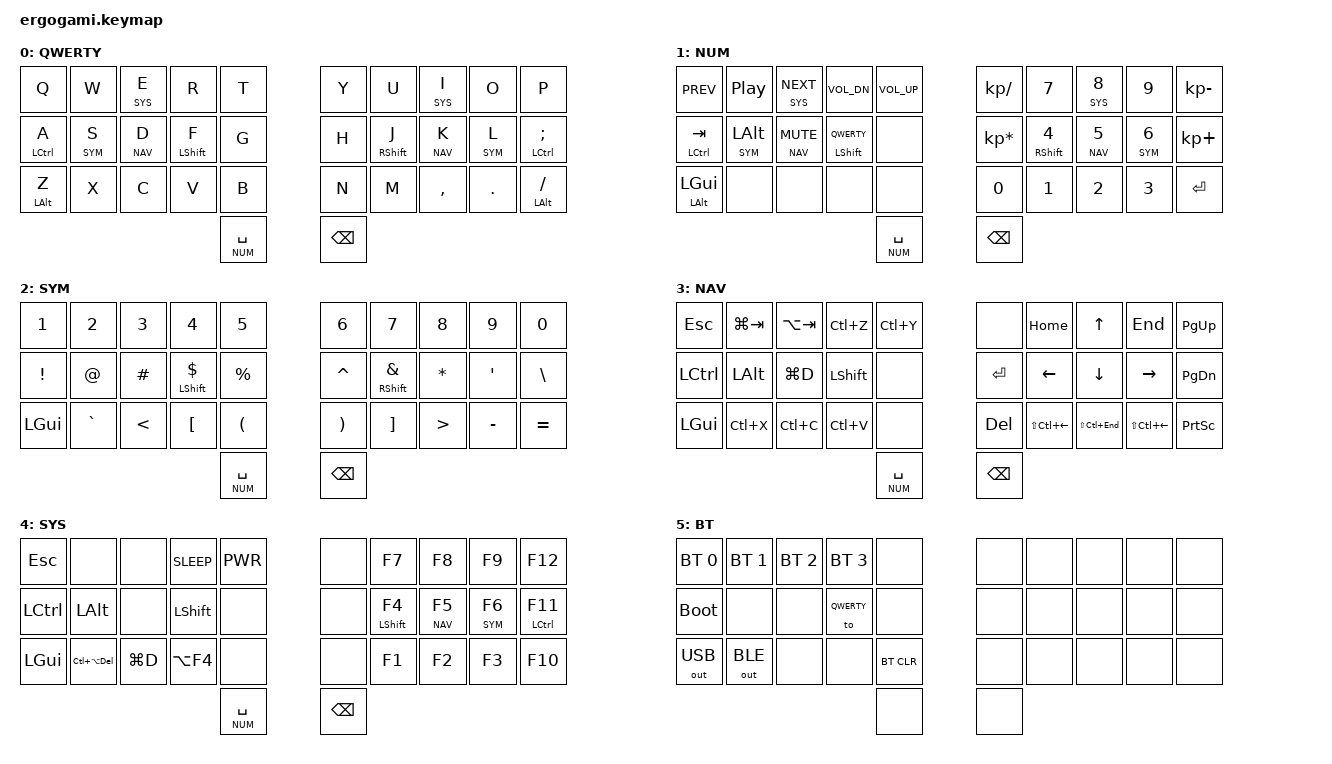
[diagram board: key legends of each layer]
/*
 * Copyright (c) 2020 The ZMK Contributors
 *
 * SPDX-License-Identifier: MIT
 */

#include <behaviors.dtsi>
#include <dt-bindings/zmk/keys.h>
#include <dt-bindings/zmk/bt.h>
#include <dt-bindings/zmk/outputs.h>

&mt {
  tapping-term-ms = <400>;
};
&sk {
  release-after-ms = <2000>;
  quick-release;
};
 
/* Layers */
#define QWERTY 0
#define NUM 1
#define SYM 2
#define NAV 3
#define SYS 4
#define BT 5
/ {

  combos {
    compatible = "zmk,combos";
    combo_qwerty {
      timeout-ms = <40>;
      key-positions = <0 1>;
      bindings = <&to QWERTY>;
    };
    combo_num {
      timeout-ms = <30>;
      key-positions = <1 2 3>;
      bindings = <&to NUM>;
    };
    combo_sym {
      timeout-ms = <30>;
      key-positions = <11 12 13>;
      bindings = <&to SYM>;
    };
    combo_nav {
      timeout-ms = <30>;
      key-positions = <21 22 23>;
      bindings = <&to NAV>;
    };
    combo_bt  {
      timeout-ms = <40>;
      key-positions = <20 21 22 23>;
      bindings = <&to BT>;
    };
    combo_caps {
      timeout-ms = <45>;
      key-positions = <16 17 18>;
      bindings = <&kp CAPS>;
    };
    combo_enter {
      timeout-ms = <30>;
      key-positions = <16 17>;
      bindings = <&kp RET>; 
    };
  };

  behaviors {
    lm: layer_mods {
      compatible = "zmk,behavior-hold-tap";
      label = "LAYER_MODS";
      #binding-cells = <2>;
      tapping-term-ms = <200>;
      flavor = "balanced";
      bindings = <&lt>, <&to>;
      retro-tap;
    };
    hl: homerow_layers {
      compatible = "zmk,behavior-hold-tap";
      label = "HOMEROW_LAYERS";
      #binding-cells = <2>;
      tapping-term-ms = <200>;
      quick_tap_ms = <0>;
      flavor = "hold-preferred";
      bindings = <&kp>, <&to>;
    };
    hs: hold_shift {
      compatible = "zmk,behavior-hold-tap";
      label = "SHIFT_KEY";
      #binding-cells = <2>;
      tapping-term-ms = <160>;
      quick_tap_ms = <0>;
      flavor = "hold-preferred";
      bindings = <&kp>, <&kp>;
      retro-tap;
    };
    td: tapdance {
      compatible = "zmk,behavior-hold-tap";
      label = "TAPDANCE";
      #binding-cells = <2>;
      tapping-term-ms = <190>;
      quick_tap_ms = <0>;
      flavor = "tap-preferred";
      bindings = <&kp>, <&kp>;
      retro-tap;
    };
  };
  
//		Keys Template
//              -------------------------------------------------------------------------------------------------------------------------
//             |  RC(0,0)   |  RC(0,1)   |  RC(0,2)   |  RC(0,3)   |  RC(0,4)   |         |  RC(0,5)   |  RC(0,6)   |  RC(0,7)   |  RC(0,8)   |  RC(0,9)   |
//             |  RC(0,10)  |  RC(0,11)  |  RC(0,12)  |  RC(0,13)  |  RC(0,14)  |         |  RC(0,15)  |  RC(0,16)  |  RC(0,17)  |  RC(0,18)  |  RC(0,19)  |
//             |  RC(0,20)  |  RC(0,21)  |  RC(0,22)  |  RC(0,23)  |  RC(0,24)  |         |  RC(0,25)  |  RC(0,26)  |  RC(0,27)  |  RC(0,28)  |  RC(0,29)  |
//                                                                 |  RC(0,30)  |         |  RC(0,31)  |

  keymap {
    compatible = "zmk,keymap";
    qwerty {
      label = "QWERTY";
      bindings = <
   // ╭─────────────┬─────────────┬─────────────┬─────────────┬───────────────╮   ╭─────────────┬─────────────┬─────────────┬─────────────┬────────────────╮
        &kp Q         &kp W         &lt SYS E     &kp R         &kp T               &kp Y         &kp U         &lt SYS I     &kp O         &kp P
   // ├─────────────┼─────────────┼─────────────┼─────────────┼───────────────┤   ├─────────────┼─────────────┼─────────────┼─────────────┼────────────────┤
        &td LCTRL A   &lt SYM S     &lt NAV D     &hs LSHFT F   &kp G               &kp H         &hs RSHFT J   &lt NAV K     &lt SYM L     &td LCTRL SEMI
   // ├─────────────┼─────────────┼─────────────┼─────────────┼───────────────┤   ├─────────────┼─────────────┼─────────────┼─────────────┼────────────────┤
        &td LALT Z    &kp X         &kp C         &kp V         &kp B               &kp N         &kp M         &kp COMMA     &kp DOT       &td LALT SLASH
   // ╰─────────────┴─────────────┴─────────────┴─────────────┼───────────────┤   ├─────────────┼─────────────┴─────────────┴─────────────┴────────────────╯
                                                                &lt NUM SPACE       &kp BSPC
   //                                                         ╰───────────────╯   ╰─────────────╯
      >;
    };

    num {
      label = "NUM";
      bindings = <
   // ╭───────────────┬──────────────┬────────────────┬──────────────────┬───────────────╮   ╭─────────────────┬──────────────┬─────────────┬─────────────┬──────────────╮
        &kp C_PREV      &kp C_PP       &lt SYS C_NEXT   &kp C_VOL_DN       &kp C_VOL_UP        &kp KP_DIVIDE     &kp N7         &lt SYS N8    &kp N9        &kp KP_MINUS
   // ├───────────────┼──────────────┼────────────────┼──────────────────┼───────────────┤   ├─────────────────┼──────────────┼─────────────┼─────────────┼──────────────┤
        &td LCTRL TAB   &lt SYM LALT   &lt NAV C_MUTE   &hl LSHFT QWERTY   &none               &kp KP_MULTIPLY   &hs RSHFT N4   &lt NAV N5    &lt SYM N6    &kp KP_PLUS
   // ├───────────────┼──────────────┼────────────────┼──────────────────┼───────────────┤   ├─────────────────┼──────────────┼─────────────┼─────────────┼──────────────┤
        &td LALT LGUI   &none          &none            &none              &none               &kp N0            &kp N1         &kp N2        &kp N3        &kp RET
   // ╰───────────────┴──────────────┴────────────────┴──────────────────┼───────────────┤   ├─────────────────┼──────────────┴─────────────┴─────────────┴──────────────╯
                                                                           &lt NUM SPACE       &kp BSPC
   //                                                                    ╰───────────────╯   ╰─────────────────╯
      >;
    };

    sym {
      label = "SYM";
      bindings = <
   // ╭─────────────┬─────────────┬─────────────┬────────────────┬───────────────╮   ╭─────────────┬────────────────┬─────────────┬─────────────┬─────────────╮
        &kp N1        &kp N2        &kp N3        &kp N4           &kp N5              &kp N6        &kp N7           &kp N8        &kp N9        &kp N0
   // ├─────────────┼─────────────┼─────────────┼────────────────┼───────────────┤   ├─────────────┼────────────────┼─────────────┼─────────────┼─────────────┤
        &kp EXCL      &kp AT        &kp HASH      &hs LSHFT DLLR   &kp PRCNT           &kp CARET     &hs RSHFT AMPS   &kp STAR      &kp SQT       &kp BSLH
   // ├─────────────┼─────────────┼─────────────┼────────────────┼───────────────┤   ├─────────────┼────────────────┼─────────────┼─────────────┼─────────────┤
        &kp LGUI      &kp GRAVE     &kp LT        &kp LBKT         &kp LPAR            &kp RPAR      &kp RBKT         &kp GT        &kp MINUS     &kp EQUAL
   // ╰─────────────┴─────────────┴─────────────┴────────────────┼───────────────┤   ├─────────────┼────────────────┴─────────────┴─────────────┴─────────────╯
                                                                   &lt NUM SPACE       &kp BSPC
   //                                                            ╰───────────────╯   ╰─────────────╯
      >;
    };
		
    nav {
      label = "NAV";
      bindings = <
   // ╭─────────────┬─────────────┬─────────────┬─────────────┬───────────────╮   ╭─────────────┬──────────────────┬─────────────────┬──────────────────┬─────────────╮
        &kp ESC       &kp LG(TAB)   &kp LA(TAB)   &kp LC(Z)     &kp LC(Y)           &none         &kp HOME           &kp UP            &kp END            &kp PG_UP
   // ├─────────────┼─────────────┼─────────────┼─────────────┼───────────────┤   ├─────────────┼──────────────────┼─────────────────┼──────────────────┼─────────────┤
        &kp LCTRL     &kp LALT      &kp LG(D)     &kp LSHFT     &none               &kp RET       &kp LEFT           &kp DOWN          &kp RIGHT          &kp PG_DN
   // ├─────────────┼─────────────┼─────────────┼─────────────┼───────────────┤   ├─────────────┼──────────────────┼─────────────────┼──────────────────┼─────────────┤
        &kp LGUI      &kp LC(X)     &kp LC(C)     &kp LC(V)     &none               &kp DEL       &kp LS(LC(LEFT))   &kp LS(LC(END))   &kp LS(LC(LEFT))   &kp PSCRN
   // ╰─────────────┴─────────────┴─────────────┴─────────────┼───────────────┤   ├─────────────┼──────────────────┴─────────────────┴──────────────────┴─────────────╯
                                                                &lt NUM SPACE       &kp BSPC
   //                                                         ╰───────────────╯   ╰─────────────╯
      >;
    };

    sys {
      label = "SYS";
      bindings = <
   // ╭─────────────┬─────────────────┬─────────────┬─────────────┬───────────────╮   ╭─────────────┬──────────────┬─────────────┬─────────────┬──────────────╮
        &kp ESC       &none             &none         &kp C_SLEEP   &kp C_PWR           &none         &kp F7         &kp F8        &kp F9        &kp F12
   // ├─────────────┼─────────────────┼─────────────┼─────────────┼───────────────┤   ├─────────────┼──────────────┼─────────────┼─────────────┼──────────────┤
        &kp LCTRL     &kp LALT          &none         &kp LSHFT     &none               &none         &hs LSHFT F4   &lt NAV F5    &lt SYM F6    &hs LCTRL F11
   // ├─────────────┼─────────────────┼─────────────┼─────────────┼───────────────┤   ├─────────────┼──────────────┼─────────────┼─────────────┼──────────────┤
        &kp LGUI      &kp LC(LA(DEL))   &kp LG(D)     &kp LA(F4)    &none               &none         &kp F1         &kp F2        &kp F3        &kp F10
   // ╰─────────────┴─────────────────┴─────────────┴─────────────┼───────────────┤   ├─────────────┼──────────────┴─────────────┴─────────────┴──────────────╯
                                                                    &lt NUM SPACE       &kp BSPC
   //                                                             ╰───────────────╯   ╰─────────────╯
      >;
    };

    bt {
      label = "BT";
      bindings = <
   // ╭──────────────┬──────────────┬──────────────┬──────────────┬─────────────╮   ╭─────────────┬─────────────┬─────────────┬─────────────┬─────────────╮
        &bt BT_SEL 0   &bt BT_SEL 1   &bt BT_SEL 2   &bt BT_SEL 3   &none             &none         &none         &none         &none         &none
   // ├──────────────┼──────────────┼──────────────┼──────────────┼─────────────┤   ├─────────────┼─────────────┼─────────────┼─────────────┼─────────────┤
        &bootloader    &none          &none          &to QWERTY     &none             &none         &none         &none         &none         &none
   // ├──────────────┼──────────────┼──────────────┼──────────────┼─────────────┤   ├─────────────┼─────────────┼─────────────┼─────────────┼─────────────┤
        &out OUT_USB   &out OUT_BLE   &none          &none          &bt BT_CLR        &none         &none         &none         &none         &none
   // ╰──────────────┴──────────────┴──────────────┴──────────────┼─────────────┤   ├─────────────┼─────────────┴─────────────┴─────────────┴─────────────╯
                                                                    &none             &none
   //                                                             ╰─────────────╯   ╰─────────────╯
      >;
    };

  };
};
